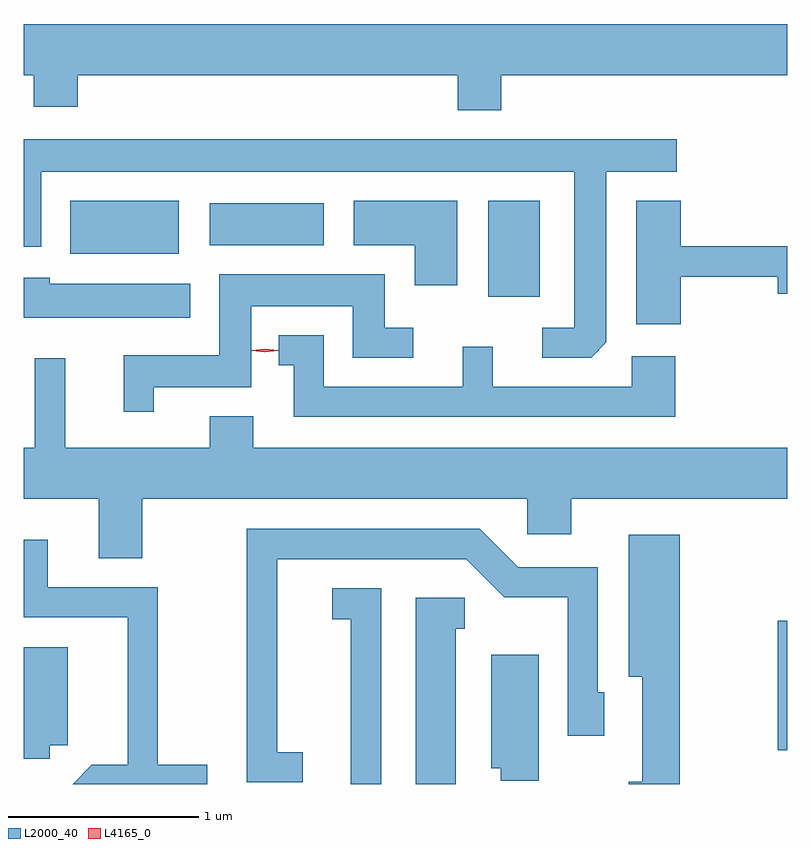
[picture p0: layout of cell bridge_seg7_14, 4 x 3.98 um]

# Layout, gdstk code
import gdstk
lib = gdstk.Library(unit=1e-6, precision=1e-09)
def R(c, l, rs):  # rectangles x0, y0, x1, y1
    for r in rs: c.add(gdstk.rectangle(r[:2], r[2:], *l))
def P(c, l, *ps):  # polygons
    for p in ps: c.add(gdstk.Polygon(p, *l))
L2000_40 = (2000, 40)
L4165_0 = (4165, 0)

bridge_seg7_14 = lib.new_cell('bridge_seg7_14')
R(bridge_seg7_14, L2000_40, [(1670.846,1744.081,1670.897,1744.759), (1669.331,1746.456,1669.599,1746.959), (1667.141,1746.681,1667.709,1746.959), (1667.871,1746.726,1668.469,1746.944)])
P(bridge_seg7_14, L2000_40, [(1669.399,1747.616),(1670.897,1747.616),(1670.897,1747.884),(1666.897,1747.884),(1666.897,1747.616),(1666.951,1747.616),(1666.951,1747.451),(1667.179,1747.451),(1667.179,1747.616),(1669.171,1747.616),(1669.171,1747.431),(1669.399,1747.431)],
  [(1669.949,1746.217),(1669.949,1747.111),(1670.318,1747.111),(1670.318,1747.279),(1666.897,1747.279),(1666.897,1746.716),(1666.989,1746.716),(1666.989,1747.111),(1669.781,1747.111),(1669.781,1746.294),(1669.613,1746.294),(1669.613,1746.136),(1669.869,1746.136)],
  [(1669.169,1746.959),(1668.626,1746.959),(1668.626,1746.726),(1668.946,1746.726),(1668.946,1746.516),(1669.169,1746.516)],
  [(1670.339,1746.561),(1670.846,1746.561),(1670.846,1746.471),(1670.897,1746.471),(1670.897,1746.719),(1670.339,1746.719),(1670.339,1746.959),(1670.106,1746.959),(1670.106,1746.311),(1670.339,1746.311)],
  [(1667.579,1745.981),(1668.089,1745.981),(1668.089,1746.406),(1668.621,1746.406),(1668.621,1746.136),(1668.938,1746.136),(1668.938,1746.294),(1668.789,1746.294),(1668.789,1746.574),(1667.921,1746.574),(1667.921,1746.149),(1667.421,1746.149),(1667.421,1745.853),(1667.579,1745.853)],
  [(1667.769,1746.524),(1667.034,1746.524),(1667.034,1746.554),(1666.897,1746.554),(1666.897,1746.346),(1667.769,1746.346)],
  [(1670.309,1746.144),(1670.081,1746.144),(1670.081,1745.984),(1669.354,1745.984),(1669.354,1746.193),(1669.196,1746.193),(1669.196,1745.984),(1668.469,1745.984),(1668.469,1746.254),(1668.233,1746.254),(1668.233,1746.096),(1668.311,1746.096),(1668.311,1745.826),(1670.309,1745.826)],
  [(1667.519,1745.396),(1669.536,1745.396),(1669.536,1745.211),(1669.764,1745.211),(1669.764,1745.396),(1670.897,1745.396),(1670.897,1745.664),(1668.099,1745.664),(1668.099,1745.829),(1667.871,1745.829),(1667.871,1745.664),(1667.114,1745.664),(1667.114,1746.133),(1666.956,1746.133),(1666.956,1745.664),(1666.897,1745.664),(1666.897,1745.396),(1667.291,1745.396),(1667.291,1745.086),(1667.519,1745.086)],
  [(1668.358,1744.069),(1668.224,1744.069),(1668.224,1745.081),(1669.214,1745.081),(1669.414,1744.881),(1669.746,1744.881),(1669.746,1744.156),(1669.939,1744.156),(1669.939,1744.384),(1669.904,1744.384),(1669.904,1745.039),(1669.487,1745.039),(1669.287,1745.239),(1668.066,1745.239),(1668.066,1743.911),(1668.358,1743.911)],
  [(1670.334,1745.209),(1670.066,1745.209),(1670.066,1744.466),(1670.136,1744.466),(1670.136,1743.914),(1670.066,1743.914),(1670.066,1743.903),(1670.334,1743.903)],
  [(1667.859,1744.004),(1667.599,1744.004),(1667.599,1744.934),(1667.024,1744.934),(1667.024,1745.183),(1666.897,1745.183),(1666.897,1744.776),(1667.441,1744.776),(1667.441,1744.004),(1667.254,1744.004),(1667.153,1743.903),(1667.859,1743.903)],
  [(1668.769,1744.929),(1668.513,1744.929),(1668.513,1744.766),(1668.611,1744.766),(1668.611,1743.903),(1668.769,1743.903)],
  [(1669.159,1744.716),(1669.208,1744.716),(1669.208,1744.879),(1668.951,1744.879),(1668.951,1743.903),(1669.159,1743.903)],
  [(1667.034,1744.106),(1667.129,1744.106),(1667.129,1744.619),(1666.897,1744.619),(1666.897,1744.036),(1667.034,1744.036)],
  [(1669.594,1744.579),(1669.346,1744.579),(1669.346,1743.986),(1669.396,1743.986),(1669.396,1743.921),(1669.594,1743.921)])
P(bridge_seg7_14, L4165_0, [(1668.161,1746.164),(1668.092,1746.173),(1668.092,1746.174),(1668.092,1746.174),(1668.161,1746.183),(1668.231,1746.174),(1668.231,1746.173),(1668.231,1746.172)])

lib.write_gds('bridge_seg7_14.gds')
